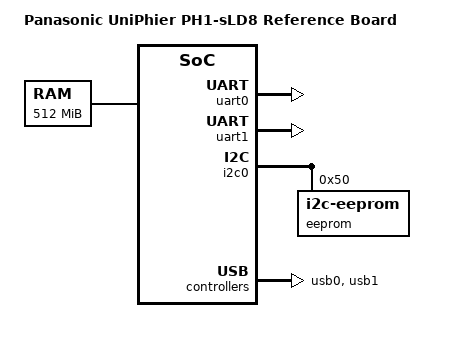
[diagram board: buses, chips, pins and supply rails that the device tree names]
/*
 * Device Tree Source for UniPhier PH1-sLD8 Reference Board
 *
 * Copyright (C) 2014 Panasonic Corporation
 *   Author: Masahiro Yamada <yamada.m@jp.panasonic.com>
 *
 * SPDX-License-Identifier:	GPL-2.0+
 */

/dts-v1/;
/include/ "uniphier-ph1-sld8.dtsi"

/ {
	model = "Panasonic UniPhier PH1-sLD8 Reference Board";
	compatible = "panasonic,ph1-sld8-ref", "panasonic,ph1-sld8";

	memory {
		device_type = "memory";
		reg = <0x80000000 0x20000000>;
	};

	chosen {
		bootargs = "console=ttyPS0,115200 earlyprintk";
		stdout-path = &uart0;
	};

	aliases {
		serial0 = &uart0;
		serial1 = &uart1;
		serial2 = &uart2;
		serial3 = &uart3;
		i2c0 = &i2c0;
		i2c1 = &i2c1;
		i2c2 = &i2c2;
		i2c3 = &i2c3;
	};
};

&uart0 {
	status = "okay";
};

&uart1 {
	status = "okay";
};

&i2c0 {
	status = "okay";
	eeprom {
		compatible = "i2c-eeprom";
		reg = <0x50>;
	};
};

&usb0 {
	status = "okay";
};

&usb1 {
	status = "okay";
};
